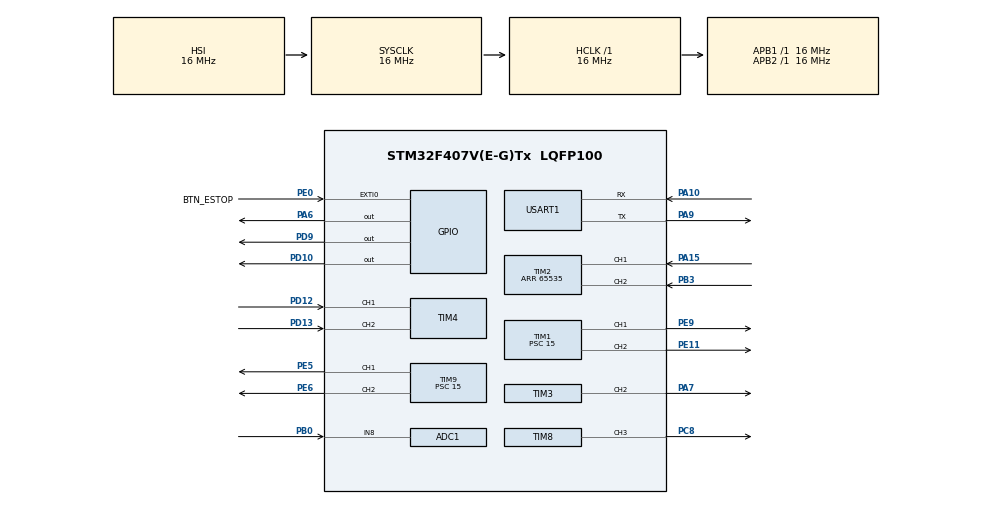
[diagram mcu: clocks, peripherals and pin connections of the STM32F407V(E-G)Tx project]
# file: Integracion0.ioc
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ADC1.Channel-0\#ChannelRegularConversion=ADC_CHANNEL_8
ADC1.NbrOfConversionFlag=1
ADC1.Rank-0\#ChannelRegularConversion=1
ADC1.SamplingTime-0\#ChannelRegularConversion=ADC_SAMPLETIME_3CYCLES
ADC1.master=1
Dma.Request0=TIM3_CH2
Dma.TIM3_CH2.0.Direction=DMA_PERIPH_TO_MEMORY
Dma.TIM3_CH2.0.FIFOMode=DMA_FIFOMODE_DISABLE
Dma.TIM3_CH2.0.Instance=DMA1_Stream5
Dma.TIM3_CH2.0.MemDataAlignment=DMA_MDATAALIGN_WORD
Dma.TIM3_CH2.0.MemInc=DMA_MINC_ENABLE
Dma.TIM3_CH2.0.Mode=DMA_NORMAL
Dma.TIM3_CH2.0.PeriphDataAlignment=DMA_PDATAALIGN_WORD
Dma.TIM3_CH2.0.PeriphInc=DMA_PINC_DISABLE
Dma.TIM3_CH2.0.Priority=DMA_PRIORITY_LOW
Mcu.Family=STM32F4
Mcu.Name=STM32F407V(E-G)Tx
Mcu.Package=LQFP100
NVIC.DMA1_Stream5_IRQn=true\:0\:0\:false\:false\:true\:false\:true\:true
NVIC.EXTI0_IRQn=true\:0\:0\:false\:false\:true\:true\:true\:true
NVIC.PriorityGroup=NVIC_PRIORITYGROUP_4
NVIC.USART1_IRQn=true\:0\:0\:false\:false\:true\:true\:true\:true
PA10.Mode=Asynchronous
PA10.Signal=USART1_RX
PA13.Mode=Serial_Wire
PA13.Signal=SYS_JTMS-SWDIO
PA14.Mode=Serial_Wire
PA14.Signal=SYS_JTCK-SWCLK
PA15.Signal=S_TIM2_CH1_ETR
PA6.Signal=GPIO_Output
PA7.Signal=S_TIM3_CH2
PA9.Mode=Asynchronous
PA9.Signal=USART1_TX
PB0.Signal=ADCx_IN8
PB3.Signal=S_TIM2_CH2
PC8.Signal=S_TIM8_CH3
PD10.Signal=GPIO_Output
PD12.Signal=S_TIM4_CH1
PD13.Signal=S_TIM4_CH2
PD9.Signal=GPIO_Output
PE0.GPIO_Label=BTN_ESTOP
PE0.GPIO_ModeDefaultEXTI=GPIO_MODE_IT_FALLING
PE0.Signal=GPXTI0
PE11.Signal=S_TIM1_CH2
PE5.Signal=S_TIM9_CH1
PE6.Signal=S_TIM9_CH2
PE9.Signal=S_TIM1_CH1
PH0-OSC_IN.Mode=HSE-External-Oscillator
PH0-OSC_IN.Signal=RCC_OSC_IN
PH1-OSC_OUT.Mode=HSE-External-Oscillator
PH1-OSC_OUT.Signal=RCC_OSC_OUT
ProjectManager.HeapSize=0x200
ProjectManager.StackSize=0x400
ProjectManager.TargetToolchain=STM32CubeIDE
RCC.AHBFreq_Value=16000000
RCC.APB1Freq_Value=16000000
RCC.APB2Freq_Value=16000000
RCC.CortexFreq_Value=16000000
RCC.HSE_VALUE=25000000
RCC.HSI_VALUE=16000000
RCC.LSE_VALUE=32768
RCC.SYSCLKFreq_VALUE=16000000
RCC.VCOOutputFreq_Value=192000000
SH.ADCx_IN8.0=ADC1_IN8,IN8
SH.S_TIM1_CH1.0=TIM1_CH1,PWM Generation1 CH1
SH.S_TIM1_CH2.0=TIM1_CH2,PWM Generation2 CH2
SH.S_TIM2_CH1_ETR.0=TIM2_CH1,Encoder_Interface
SH.S_TIM2_CH2.0=TIM2_CH2,Encoder_Interface
SH.S_TIM3_CH2.0=TIM3_CH2,PWM Generation2 CH2
SH.S_TIM4_CH1.0=TIM4_CH1,Encoder_Interface
SH.S_TIM4_CH2.0=TIM4_CH2,Encoder_Interface
SH.S_TIM8_CH3.0=TIM8_CH3,PWM Generation3 CH3
SH.S_TIM9_CH1.0=TIM9_CH1,PWM Generation1 CH1
SH.S_TIM9_CH2.0=TIM9_CH2,PWM Generation2 CH2
TIM1.Channel-PWM\ Generation1\ CH1=TIM_CHANNEL_1
TIM1.Channel-PWM\ Generation2\ CH2=TIM_CHANNEL_2
TIM1.Period=999
TIM1.Prescaler=15
TIM2.EncoderMode=TIM_ENCODERMODE_TI12
TIM2.Period=65535
TIM3.Channel-PWM\ Generation2\ CH2=TIM_CHANNEL_2
TIM3.Period=19
TIM4.EncoderMode=TIM_ENCODERMODE_TI12
TIM8.Channel-PWM\ Generation3\ CH3=TIM_CHANNEL_3
TIM8.Period=19999
TIM8.Prescaler=15
TIM9.Channel-PWM\ Generation1\ CH1=TIM_CHANNEL_1
TIM9.Channel-PWM\ Generation2\ CH2=TIM_CHANNEL_2
TIM9.Period=999
TIM9.Prescaler=15
USART1.VirtualMode=VM_ASYNC
VP_TIM3_VS_ClockSourceINT.Mode=Internal
VP_TIM8_VS_ClockSourceINT.Mode=Internal
VP_TIM9_VS_ClockSourceINT.Mode=Internal
board=custom

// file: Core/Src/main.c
/* USER CODE BEGIN Header */
/**
  ******************************************************************************
  * @file           : main.c
  * @brief          : Main program body
  ******************************************************************************
  * @attention
  *
  * Copyright (c) 2026 STMicroelectronics.
  * All rights reserved.
  *
  * This software is licensed under terms that can be found in the LICENSE file
  * in the root directory of this software component.
  * If no LICENSE file comes with this software, it is provided AS-IS.
  *
  ******************************************************************************
  */
/* USER CODE END Header */
#include "main.h"

ADC_HandleTypeDef hadc1;

TIM_HandleTypeDef htim1;
TIM_HandleTypeDef htim2;
TIM_HandleTypeDef htim3;
TIM_HandleTypeDef htim4;
TIM_HandleTypeDef htim8;
TIM_HandleTypeDef htim9;
DMA_HandleTypeDef hdma_tim3_ch2;

UART_HandleTypeDef huart1;

/* USER CODE BEGIN PV */
// --- BÚFER DE COMUNICACIÓN (MÁQUINA DE ESTADOS) ---
uint8_t rx_byte;          // Para recibir de 1 en 1
uint8_t rx_buffer[8];
uint8_t rx_index = 0;     // Índice para armar la trama

// --- TELEMETRÍA (ENCODERS) ---
uint8_t tx_buffer[7];
uint32_t timer_telemetria = 0;

// --- MÓDULO BATERÍA ---
uint32_t pwmData[74];
float voltaje_bateria = 0.0;
uint8_t flag_bateria_baja = 0;

// --- TEMPORIZADORES NO BLOQUEANTES ---
uint32_t timer_lectura_adc = 0;
uint32_t timer_ritmo_alarma = 0;
uint32_t timer_frecuencia_buzzer = 0;
uint8_t estado_alarma = 0;
volatile uint8_t e_stop_active = 0;
/* USER CODE END PV */

void SystemClock_Config(void);
static void MX_GPIO_Init(void);
static void MX_DMA_Init(void);
static void MX_ADC1_Init(void);
static void MX_TIM1_Init(void);
static void MX_TIM3_Init(void);
static void MX_TIM8_Init(void);
static void MX_TIM9_Init(void);
static void MX_USART1_UART_Init(void);
static void MX_TIM2_Init(void);
static void MX_TIM4_Init(void);

/* USER CODE BEGIN 0 */
void Set_LED_Color(uint8_t R, uint8_t G, uint8_t B) {
    uint32_t color = (G << 16) | (R << 8) | B;
    uint32_t indx = 0;
    for (int i = 23; i >= 0; i--) {
        if (color & (1 << i)) pwmData[indx] = 13;
        else pwmData[indx] = 6;
        indx++;
    }
    for (int i = 0; i < 50; i++) {
        pwmData[indx] = 0;
        indx++;
    }

    // ======== LA SOLUCIÓN ========
    // Detener el DMA anterior para liberar la tubería
    HAL_TIM_PWM_Stop_DMA(&htim3, TIM_CHANNEL_2);

    // Disparar el nuevo color
    HAL_TIM_PWM_Start_DMA(&htim3, TIM_CHANNEL_2, (uint32_t *)pwmData, 74);
}

void Monitor_Bateria_NoBloqueante(void) {
    if (HAL_GetTick() - timer_lectura_adc >= 1000) {
        timer_lectura_adc = HAL_GetTick();
        HAL_ADC_Start(&hadc1);
        if (HAL_ADC_PollForConversion(&hadc1, 10) == HAL_OK) {
            voltaje_bateria = HAL_ADC_GetValue(&hadc1) * 0.008864f;
            if (voltaje_bateria > 3.0 && voltaje_bateria < 6.6) {
                Set_LED_Color(255, 0, 0);
                flag_bateria_baja = 1;
            } else if (voltaje_bateria >= 6.6) {
                Set_LED_Color(0, 255, 0);
                flag_bateria_baja = 0;
            } else {
                Set_LED_Color(0, 0, 255);
                flag_bateria_baja = 0;
            }
        }
        HAL_ADC_Stop(&hadc1);
    }
}

void Control_Buzzer_NoBloqueante(void) {
    if (flag_bateria_baja == 1) {
        if (HAL_GetTick() - timer_ritmo_alarma >= 200) {
            timer_ritmo_alarma = HAL_GetTick();
            estado_alarma = !estado_alarma;
        }
        if (estado_alarma == 1) {
            if (HAL_GetTick() - timer_frecuencia_buzzer >= 1) {
                timer_frecuencia_buzzer = HAL_GetTick();
                HAL_GPIO_TogglePin(GPIOA, GPIO_PIN_6);
            }
        } else {
            HAL_GPIO_WritePin(GPIOA, GPIO_PIN_6, GPIO_PIN_RESET);
        }
    } else {
        estado_alarma = 0;
        HAL_GPIO_WritePin(GPIOA, GPIO_PIN_6, GPIO_PIN_RESET);
    }
}

void Transmitir_Encoders_NoBloqueante(void) {
    // Mandar datos cada 50 ms (20 Hz) para tener lectura fluida en ROS
    if (HAL_GetTick() - timer_telemetria >= 50) {
        timer_telemetria = HAL_GetTick();

        // 1. Leer los contadores por Hardware
        int16_t ticks_izq = (int16_t)__HAL_TIM_GET_COUNTER(&htim2);
        int16_t ticks_der = (int16_t)__HAL_TIM_GET_COUNTER(&htim4);

        // 2. Empaquetar en trama de 7 bytes: [AA, 55, IZQ_H, IZQ_L, DER_H, DER_L, FF]
        tx_buffer[0] = 0xAA;
        tx_buffer[1] = 0x55;
        tx_buffer[2] = (ticks_izq >> 8) & 0xFF;
        tx_buffer[3] = ticks_izq & 0xFF;
        tx_buffer[4] = (ticks_der >> 8) & 0xFF;
        tx_buffer[5] = ticks_der & 0xFF;
        tx_buffer[6] = 0xFF;

        // 3. Enviar por el puerto serial
        // (A 115200 baudios, 7 bytes tardan 0.6 ms en enviarse, así que no bloqueará nada)
        HAL_UART_Transmit(&huart1, tx_buffer, 7, 10);
    }
}
/* USER CODE END 0 */

int main(void)
{

  /* MCU Configuration--------------------------------------------------------*/

  /* Reset of all peripherals, Initializes the Flash interface and the Systick. */
  HAL_Init();

  /* Configure the system clock */
  SystemClock_Config();

  /* Initialize all configured peripherals */
  MX_GPIO_Init();
  MX_DMA_Init();
  MX_ADC1_Init();
  MX_TIM1_Init();
  MX_TIM3_Init();
  MX_TIM8_Init();
  MX_TIM9_Init();
  MX_USART1_UART_Init();
  MX_TIM2_Init();
  MX_TIM4_Init();
  /* USER CODE BEGIN 2 */
      HAL_TIM_PWM_Start(&htim1, TIM_CHANNEL_1);
      HAL_TIM_PWM_Start(&htim1, TIM_CHANNEL_2);
      HAL_TIM_PWM_Start(&htim9, TIM_CHANNEL_1);
      HAL_TIM_PWM_Start(&htim9, TIM_CHANNEL_2);

      HAL_TIM_Encoder_Start(&htim2, TIM_CHANNEL_ALL);
      HAL_TIM_Encoder_Start(&htim4, TIM_CHANNEL_ALL);

      HAL_TIM_PWM_Start(&htim8, TIM_CHANNEL_3);
      __HAL_TIM_SET_COMPARE(&htim8, TIM_CHANNEL_3, 1500);

      // ¡EL CAMBIO CRÍTICO! Empezar a escuchar UART (1 solo byte a la vez)
      HAL_UART_Receive_IT(&huart1, &rx_byte, 1);
  /* USER CODE END 2 */

  /* Infinite loop */
  /* USER CODE BEGIN WHILE */
    	while (1)
          {
              Monitor_Bateria_NoBloqueante();
              Control_Buzzer_NoBloqueante();
              Transmitir_Encoders_NoBloqueante();
    /* USER CODE END WHILE */

  }
}

void SystemClock_Config(void)
{
  RCC_OscInitTypeDef RCC_OscInitStruct = {0};
  RCC_ClkInitTypeDef RCC_ClkInitStruct = {0};

  /** Configure the main internal regulator output voltage
  */
  __HAL_RCC_PWR_CLK_ENABLE();
  __HAL_PWR_VOLTAGESCALING_CONFIG(PWR_REGULATOR_VOLTAGE_SCALE1);

  /** Initializes the RCC Oscillators according to the specified parameters
  * in the RCC_OscInitTypeDef structure.
  */
  RCC_OscInitStruct.OscillatorType = RCC_OSCILLATORTYPE_HSI;
  RCC_OscInitStruct.HSIState = RCC_HSI_ON;
  RCC_OscInitStruct.HSICalibrationValue = RCC_HSICALIBRATION_DEFAULT;
  RCC_OscInitStruct.PLL.PLLState = RCC_PLL_NONE;
  if (HAL_RCC_OscConfig(&RCC_OscInitStruct) != HAL_OK)
  {
    Error_Handler();
  }

  /** Initializes the CPU, AHB and APB buses clocks
  */
  RCC_ClkInitStruct.ClockType = RCC_CLOCKTYPE_HCLK|RCC_CLOCKTYPE_SYSCLK
                              |RCC_CLOCKTYPE_PCLK1|RCC_CLOCKTYPE_PCLK2;
  RCC_ClkInitStruct.SYSCLKSource = RCC_SYSCLKSOURCE_HSI;
  RCC_ClkInitStruct.AHBCLKDivider = RCC_SYSCLK_DIV1;
  RCC_ClkInitStruct.APB1CLKDivider = RCC_HCLK_DIV1;
  RCC_ClkInitStruct.APB2CLKDivider = RCC_HCLK_DIV1;

  if (HAL_RCC_ClockConfig(&RCC_ClkInitStruct, FLASH_LATENCY_0) != HAL_OK)
  {
    Error_Handler();
  }
}

static void MX_ADC1_Init(void)
{

  ADC_ChannelConfTypeDef sConfig = {0};

  /** Configure the global features of the ADC (Clock, Resolution, Data Alignment and number of conversion)
  */
  hadc1.Instance = ADC1;
  hadc1.Init.ClockPrescaler = ADC_CLOCK_SYNC_PCLK_DIV2;
  hadc1.Init.Resolution = ADC_RESOLUTION_12B;
  hadc1.Init.ScanConvMode = DISABLE;
  hadc1.Init.ContinuousConvMode = DISABLE;
  hadc1.Init.DiscontinuousConvMode = DISABLE;
  hadc1.Init.ExternalTrigConvEdge = ADC_EXTERNALTRIGCONVEDGE_NONE;
  hadc1.Init.ExternalTrigConv = ADC_SOFTWARE_START;
  hadc1.Init.DataAlign = ADC_DATAALIGN_RIGHT;
  hadc1.Init.NbrOfConversion = 1;
  hadc1.Init.DMAContinuousRequests = DISABLE;
  hadc1.Init.EOCSelection = ADC_EOC_SINGLE_CONV;
  if (HAL_ADC_Init(&hadc1) != HAL_OK)
  {
    Error_Handler();
  }

  /** Configure for the selected ADC regular channel its corresponding rank in the sequencer and its sample time.
  */
  sConfig.Channel = ADC_CHANNEL_8;
  sConfig.Rank = 1;
  sConfig.SamplingTime = ADC_SAMPLETIME_3CYCLES;
  if (HAL_ADC_ConfigChannel(&hadc1, &sConfig) != HAL_OK)
  {
    Error_Handler();
  }

}

static void MX_TIM1_Init(void)
{

  TIM_MasterConfigTypeDef sMasterConfig = {0};
  TIM_OC_InitTypeDef sConfigOC = {0};
  TIM_BreakDeadTimeConfigTypeDef sBreakDeadTimeConfig = {0};

  htim1.Instance = TIM1;
  htim1.Init.Prescaler = 15;
  htim1.Init.CounterMode = TIM_COUNTERMODE_UP;
  htim1.Init.Period = 999;
  htim1.Init.ClockDivision = TIM_CLOCKDIVISION_DIV1;
  htim1.Init.RepetitionCounter = 0;
  htim1.Init.AutoReloadPreload = TIM_AUTORELOAD_PRELOAD_DISABLE;
  if (HAL_TIM_PWM_Init(&htim1) != HAL_OK)
  {
    Error_Handler();
  }
  sMasterConfig.MasterOutputTrigger = TIM_TRGO_RESET;
  sMasterConfig.MasterSlaveMode = TIM_MASTERSLAVEMODE_DISABLE;
  if (HAL_TIMEx_MasterConfigSynchronization(&htim1, &sMasterConfig) != HAL_OK)
  {
    Error_Handler();
  }
  sConfigOC.OCMode = TIM_OCMODE_PWM1;
  sConfigOC.Pulse = 0;
  sConfigOC.OCPolarity = TIM_OCPOLARITY_HIGH;
  sConfigOC.OCNPolarity = TIM_OCNPOLARITY_HIGH;
  sConfigOC.OCFastMode = TIM_OCFAST_DISABLE;
  sConfigOC.OCIdleState = TIM_OCIDLESTATE_RESET;
  sConfigOC.OCNIdleState = TIM_OCNIDLESTATE_RESET;
  if (HAL_TIM_PWM_ConfigChannel(&htim1, &sConfigOC, TIM_CHANNEL_1) != HAL_OK)
  {
    Error_Handler();
  }
  if (HAL_TIM_PWM_ConfigChannel(&htim1, &sConfigOC, TIM_CHANNEL_2) != HAL_OK)
  {
    Error_Handler();
  }
  sBreakDeadTimeConfig.OffStateRunMode = TIM_OSSR_DISABLE;
  sBreakDeadTimeConfig.OffStateIDLEMode = TIM_OSSI_DISABLE;
  sBreakDeadTimeConfig.LockLevel = TIM_LOCKLEVEL_OFF;
  sBreakDeadTimeConfig.DeadTime = 0;
  sBreakDeadTimeConfig.BreakState = TIM_BREAK_DISABLE;
  sBreakDeadTimeConfig.BreakPolarity = TIM_BREAKPOLARITY_HIGH;
  sBreakDeadTimeConfig.AutomaticOutput = TIM_AUTOMATICOUTPUT_DISABLE;
  if (HAL_TIMEx_ConfigBreakDeadTime(&htim1, &sBreakDeadTimeConfig) != HAL_OK)
  {
    Error_Handler();
  }
  HAL_TIM_MspPostInit(&htim1);

}

static void MX_TIM2_Init(void)
{

  TIM_Encoder_InitTypeDef sConfig = {0};
  TIM_MasterConfigTypeDef sMasterConfig = {0};

  htim2.Instance = TIM2;
  htim2.Init.Prescaler = 0;
  htim2.Init.CounterMode = TIM_COUNTERMODE_UP;
  htim2.Init.Period = 65535;
  htim2.Init.ClockDivision = TIM_CLOCKDIVISION_DIV1;
  htim2.Init.AutoReloadPreload = TIM_AUTORELOAD_PRELOAD_DISABLE;
  sConfig.EncoderMode = TIM_ENCODERMODE_TI12;
  sConfig.IC1Polarity = TIM_ICPOLARITY_RISING;
  sConfig.IC1Selection = TIM_ICSELECTION_DIRECTTI;
  sConfig.IC1Prescaler = TIM_ICPSC_DIV1;
  sConfig.IC1Filter = 0;
  sConfig.IC2Polarity = TIM_ICPOLARITY_RISING;
  sConfig.IC2Selection = TIM_ICSELECTION_DIRECTTI;
  sConfig.IC2Prescaler = TIM_ICPSC_DIV1;
  sConfig.IC2Filter = 0;
  if (HAL_TIM_Encoder_Init(&htim2, &sConfig) != HAL_OK)
  {
    Error_Handler();
  }
  sMasterConfig.MasterOutputTrigger = TIM_TRGO_RESET;
  sMasterConfig.MasterSlaveMode = TIM_MASTERSLAVEMODE_DISABLE;
  if (HAL_TIMEx_MasterConfigSynchronization(&htim2, &sMasterConfig) != HAL_OK)
  {
    Error_Handler();
  }

}

static void MX_TIM3_Init(void)
{

  TIM_ClockConfigTypeDef sClockSourceConfig = {0};
  TIM_MasterConfigTypeDef sMasterConfig = {0};
  TIM_OC_InitTypeDef sConfigOC = {0};

  htim3.Instance = TIM3;
  htim3.Init.Prescaler = 0;
  htim3.Init.CounterMode = TIM_COUNTERMODE_UP;
  htim3.Init.Period = 19;
  htim3.Init.ClockDivision = TIM_CLOCKDIVISION_DIV1;
  htim3.Init.AutoReloadPreload = TIM_AUTORELOAD_PRELOAD_DISABLE;
  if (HAL_TIM_Base_Init(&htim3) != HAL_OK)
  {
    Error_Handler();
  }
  sClockSourceConfig.ClockSource = TIM_CLOCKSOURCE_INTERNAL;
  if (HAL_TIM_ConfigClockSource(&htim3, &sClockSourceConfig) != HAL_OK)
  {
    Error_Handler();
  }
  if (HAL_TIM_PWM_Init(&htim3) != HAL_OK)
  {
    Error_Handler();
  }
  sMasterConfig.MasterOutputTrigger = TIM_TRGO_RESET;
  sMasterConfig.MasterSlaveMode = TIM_MASTERSLAVEMODE_DISABLE;
  if (HAL_TIMEx_MasterConfigSynchronization(&htim3, &sMasterConfig) != HAL_OK)
  {
    Error_Handler();
  }
  sConfigOC.OCMode = TIM_OCMODE_PWM1;
  sConfigOC.Pulse = 0;
  sConfigOC.OCPolarity = TIM_OCPOLARITY_HIGH;
  sConfigOC.OCFastMode = TIM_OCFAST_DISABLE;
  if (HAL_TIM_PWM_ConfigChannel(&htim3, &sConfigOC, TIM_CHANNEL_2) != HAL_OK)
  {
    Error_Handler();
  }
  HAL_TIM_MspPostInit(&htim3);

}

static void MX_TIM4_Init(void)
{

  TIM_Encoder_InitTypeDef sConfig = {0};
  TIM_MasterConfigTypeDef sMasterConfig = {0};

  htim4.Instance = TIM4;
  htim4.Init.Prescaler = 0;
  htim4.Init.CounterMode = TIM_COUNTERMODE_UP;
  htim4.Init.Period = 65535;
  htim4.Init.ClockDivision = TIM_CLOCKDIVISION_DIV1;
  htim4.Init.AutoReloadPreload = TIM_AUTORELOAD_PRELOAD_DISABLE;
  sConfig.EncoderMode = TIM_ENCODERMODE_TI12;
  sConfig.IC1Polarity = TIM_ICPOLARITY_RISING;
  sConfig.IC1Selection = TIM_ICSELECTION_DIRECTTI;
  sConfig.IC1Prescaler = TIM_ICPSC_DIV1;
  sConfig.IC1Filter = 0;
  sConfig.IC2Polarity = TIM_ICPOLARITY_RISING;
  sConfig.IC2Selection = TIM_ICSELECTION_DIRECTTI;
  sConfig.IC2Prescaler = TIM_ICPSC_DIV1;
  sConfig.IC2Filter = 0;
  if (HAL_TIM_Encoder_Init(&htim4, &sConfig) != HAL_OK)
  {
    Error_Handler();
  }
  sMasterConfig.MasterOutputTrigger = TIM_TRGO_RESET;
  sMasterConfig.MasterSlaveMode = TIM_MASTERSLAVEMODE_DISABLE;
  if (HAL_TIMEx_MasterConfigSynchronization(&htim4, &sMasterConfig) != HAL_OK)
  {
    Error_Handler();
  }

}

static void MX_TIM8_Init(void)
{

  TIM_ClockConfigTypeDef sClockSourceConfig = {0};
  TIM_MasterConfigTypeDef sMasterConfig = {0};
  TIM_OC_InitTypeDef sConfigOC = {0};
  TIM_BreakDeadTimeConfigTypeDef sBreakDeadTimeConfig = {0};

  htim8.Instance = TIM8;
  htim8.Init.Prescaler = 15;
  htim8.Init.CounterMode = TIM_COUNTERMODE_UP;
  htim8.Init.Period = 19999;
  htim8.Init.ClockDivision = TIM_CLOCKDIVISION_DIV1;
  htim8.Init.RepetitionCounter = 0;
  htim8.Init.AutoReloadPreload = TIM_AUTORELOAD_PRELOAD_DISABLE;
  if (HAL_TIM_Base_Init(&htim8) != HAL_OK)
  {
    Error_Handler();
  }
  sClockSourceConfig.ClockSource = TIM_CLOCKSOURCE_INTERNAL;
  if (HAL_TIM_ConfigClockSource(&htim8, &sClockSourceConfig) != HAL_OK)
  {
    Error_Handler();
  }
  if (HAL_TIM_PWM_Init(&htim8) != HAL_OK)
  {
    Error_Handler();
  }
  sMasterConfig.MasterOutputTrigger = TIM_TRGO_RESET;
  sMasterConfig.MasterSlaveMode = TIM_MASTERSLAVEMODE_DISABLE;
  if (HAL_TIMEx_MasterConfigSynchronization(&htim8, &sMasterConfig) != HAL_OK)
  {
    Error_Handler();
  }
  sConfigOC.OCMode = TIM_OCMODE_PWM1;
  sConfigOC.Pulse = 0;
  sConfigOC.OCPolarity = TIM_OCPOLARITY_HIGH;
  sConfigOC.OCNPolarity = TIM_OCNPOLARITY_HIGH;
  sConfigOC.OCFastMode = TIM_OCFAST_DISABLE;
  sConfigOC.OCIdleState = TIM_OCIDLESTATE_RESET;
  sConfigOC.OCNIdleState = TIM_OCNIDLESTATE_RESET;
  if (HAL_TIM_PWM_ConfigChannel(&htim8, &sConfigOC, TIM_CHANNEL_3) != HAL_OK)
  {
    Error_Handler();
  }
  sBreakDeadTimeConfig.OffStateRunMode = TIM_OSSR_DISABLE;
  sBreakDeadTimeConfig.OffStateIDLEMode = TIM_OSSI_DISABLE;
  sBreakDeadTimeConfig.LockLevel = TIM_LOCKLEVEL_OFF;
  sBreakDeadTimeConfig.DeadTime = 0;
  sBreakDeadTimeConfig.BreakState = TIM_BREAK_DISABLE;
  sBreakDeadTimeConfig.BreakPolarity = TIM_BREAKPOLARITY_HIGH;
  sBreakDeadTimeConfig.AutomaticOutput = TIM_AUTOMATICOUTPUT_DISABLE;
  if (HAL_TIMEx_ConfigBreakDeadTime(&htim8, &sBreakDeadTimeConfig) != HAL_OK)
  {
    Error_Handler();
  }
  HAL_TIM_MspPostInit(&htim8);

}

static void MX_TIM9_Init(void)
{

  TIM_ClockConfigTypeDef sClockSourceConfig = {0};
  TIM_OC_InitTypeDef sConfigOC = {0};

  htim9.Instance = TIM9;
  htim9.Init.Prescaler = 15;
  htim9.Init.CounterMode = TIM_COUNTERMODE_UP;
  htim9.Init.Period = 999;
  htim9.Init.ClockDivision = TIM_CLOCKDIVISION_DIV1;
  htim9.Init.AutoReloadPreload = TIM_AUTORELOAD_PRELOAD_DISABLE;
  if (HAL_TIM_Base_Init(&htim9) != HAL_OK)
  {
    Error_Handler();
  }
  sClockSourceConfig.ClockSource = TIM_CLOCKSOURCE_INTERNAL;
  if (HAL_TIM_ConfigClockSource(&htim9, &sClockSourceConfig) != HAL_OK)
  {
    Error_Handler();
  }
  if (HAL_TIM_PWM_Init(&htim9) != HAL_OK)
  {
    Error_Handler();
  }
  sConfigOC.OCMode = TIM_OCMODE_PWM1;
  sConfigOC.Pulse = 0;
  sConfigOC.OCPolarity = TIM_OCPOLARITY_HIGH;
  sConfigOC.OCFastMode = TIM_OCFAST_DISABLE;
  if (HAL_TIM_PWM_ConfigChannel(&htim9, &sConfigOC, TIM_CHANNEL_1) != HAL_OK)
  {
    Error_Handler();
  }
  if (HAL_TIM_PWM_ConfigChannel(&htim9, &sConfigOC, TIM_CHANNEL_2) != HAL_OK)
  {
    Error_Handler();
  }
  HAL_TIM_MspPostInit(&htim9);

}

static void MX_USART1_UART_Init(void)
{

  huart1.Instance = USART1;
  huart1.Init.BaudRate = 115200;
  huart1.Init.WordLength = UART_WORDLENGTH_8B;
  huart1.Init.StopBits = UART_STOPBITS_1;
  huart1.Init.Parity = UART_PARITY_NONE;
  huart1.Init.Mode = UART_MODE_TX_RX;
  huart1.Init.HwFlowCtl = UART_HWCONTROL_NONE;
  huart1.Init.OverSampling = UART_OVERSAMPLING_16;
  if (HAL_UART_Init(&huart1) != HAL_OK)
  {
    Error_Handler();
  }

}

static void MX_DMA_Init(void)
{

  /* DMA controller clock enable */
  __HAL_RCC_DMA1_CLK_ENABLE();

  /* DMA interrupt init */
  /* DMA1_Stream5_IRQn interrupt configuration */
  HAL_NVIC_SetPriority(DMA1_Stream5_IRQn, 0, 0);
  HAL_NVIC_EnableIRQ(DMA1_Stream5_IRQn);

}

static void MX_GPIO_Init(void)
{
  GPIO_InitTypeDef GPIO_InitStruct = {0};

  /* GPIO Ports Clock Enable */
  __HAL_RCC_GPIOE_CLK_ENABLE();
  __HAL_RCC_GPIOH_CLK_ENABLE();
  __HAL_RCC_GPIOA_CLK_ENABLE();
  __HAL_RCC_GPIOB_CLK_ENABLE();
  __HAL_RCC_GPIOD_CLK_ENABLE();
  __HAL_RCC_GPIOC_CLK_ENABLE();

  /*Configure GPIO pin Output Level */
  HAL_GPIO_WritePin(GPIOA, GPIO_PIN_6, GPIO_PIN_RESET);

  /*Configure GPIO pin Output Level */
  HAL_GPIO_WritePin(GPIOD, GPIO_PIN_9|GPIO_PIN_10, GPIO_PIN_RESET);

  /*Configure GPIO pin : PA6 */
  GPIO_InitStruct.Pin = GPIO_PIN_6;
  GPIO_InitStruct.Mode = GPIO_MODE_OUTPUT_PP;
  GPIO_InitStruct.Pull = GPIO_NOPULL;
  GPIO_InitStruct.Speed = GPIO_SPEED_FREQ_LOW;
  HAL_GPIO_Init(GPIOA, &GPIO_InitStruct);

  /*Configure GPIO pins : PD9 PD10 */
  GPIO_InitStruct.Pin = GPIO_PIN_9|GPIO_PIN_10;
  GPIO_InitStruct.Mode = GPIO_MODE_OUTPUT_PP;
  GPIO_InitStruct.Pull = GPIO_NOPULL;
  GPIO_InitStruct.Speed = GPIO_SPEED_FREQ_LOW;
  HAL_GPIO_Init(GPIOD, &GPIO_InitStruct);

  /*Configure GPIO pin : BTN_ESTOP_Pin */
  GPIO_InitStruct.Pin = BTN_ESTOP_Pin;
  GPIO_InitStruct.Mode = GPIO_MODE_IT_FALLING;
  GPIO_InitStruct.Pull = GPIO_NOPULL;
  HAL_GPIO_Init(BTN_ESTOP_GPIO_Port, &GPIO_InitStruct);

  /* EXTI interrupt init*/
  HAL_NVIC_SetPriority(EXTI0_IRQn, 0, 0);
  HAL_NVIC_EnableIRQ(EXTI0_IRQn);

}

/* USER CODE BEGIN 4 */
void HAL_GPIO_EXTI_Callback(uint16_t GPIO_Pin) {
    static uint32_t ultimo_tiempo_boton = 0;
    uint32_t tiempo_actual = HAL_GetTick();

    if (tiempo_actual - ultimo_tiempo_boton > 200) {
        if (GPIO_Pin == BTN_ESTOP_Pin) {
            e_stop_active = !e_stop_active;
        }
    }
    ultimo_tiempo_boton = tiempo_actual;
}

void HAL_UART_RxCpltCallback(UART_HandleTypeDef *huart) {
    if (huart->Instance == USART1) {

        // ======================================================
        // MÁQUINA DE ESTADOS PARA SINCRONIZACIÓN PERFECTA
        // ======================================================
        if (rx_index == 0) {
            if (rx_byte == 0xAA) rx_buffer[rx_index++] = rx_byte;
        }
        else if (rx_index == 1) {
            if (rx_byte == 0x55) rx_buffer[rx_index++] = rx_byte;
            else rx_index = 0; // Basura, reiniciar
        }
        else {
            rx_buffer[rx_index++] = rx_byte;

            // Si ya recolectamos los 8 bytes exactos
            if (rx_index >= 8) {
                rx_index = 0; // Reiniciar para el próximo paquete

                if (rx_buffer[7] == 0xFF) { // Confirmar la "cola"

                    uint8_t dir_dc   = rx_buffer[3];
                    uint8_t speed_dc = rx_buffer[4];
                    uint16_t servo_pwm = (rx_buffer[5] << 8) | rx_buffer[6];

                    // --- LÓGICA DE PARO DE EMERGENCIA ---
                    if (e_stop_active == 1) {
                        __HAL_TIM_SET_COMPARE(&htim8, TIM_CHANNEL_3, 1500);
                        HAL_GPIO_WritePin(GPIOD, GPIO_PIN_9, GPIO_PIN_RESET);
                        HAL_GPIO_WritePin(GPIOD, GPIO_PIN_10, GPIO_PIN_RESET);
                        __HAL_TIM_SET_COMPARE(&htim1, TIM_CHANNEL_1, 1000);
                        __HAL_TIM_SET_COMPARE(&htim1, TIM_CHANNEL_2, 1000);
                        __HAL_TIM_SET_COMPARE(&htim9, TIM_CHANNEL_1, 1000);
                        __HAL_TIM_SET_COMPARE(&htim9, TIM_CHANNEL_2, 1000);
                    }
                    else {
                        // --- SEGURIDAD DEL SERVO ---
                        if (servo_pwm > 1740) servo_pwm = 1740;
                        if (servo_pwm < 1110) servo_pwm = 1110;
                        if (servo_pwm == 0)   servo_pwm = 1500;

                        __HAL_TIM_SET_COMPARE(&htim8, TIM_CHANNEL_3, servo_pwm);

                        // --- CONTROL MOTORES DC ---
                        uint32_t pwm_val = speed_dc * 10;

                        if (dir_dc == 1) { // ADELANTE
                            HAL_GPIO_WritePin(GPIOD, GPIO_PIN_9, GPIO_PIN_SET);
                            HAL_GPIO_WritePin(GPIOD, GPIO_PIN_10, GPIO_PIN_RESET);
                            __HAL_TIM_SET_COMPARE(&htim1, TIM_CHANNEL_1, 0);
                            __HAL_TIM_SET_COMPARE(&htim1, TIM_CHANNEL_2, pwm_val);
                            __HAL_TIM_SET_COMPARE(&htim9, TIM_CHANNEL_1, 0);
                            __HAL_TIM_SET_COMPARE(&htim9, TIM_CHANNEL_2, pwm_val);
                        }
                        else if (dir_dc == 2) { // REVERSA
                            HAL_GPIO_WritePin(GPIOD, GPIO_PIN_9, GPIO_PIN_RESET);
                            HAL_GPIO_WritePin(GPIOD, GPIO_PIN_10, GPIO_PIN_SET);
                            __HAL_TIM_SET_COMPARE(&htim1, TIM_CHANNEL_1, pwm_val);
                            __HAL_TIM_SET_COMPARE(&htim1, TIM_CHANNEL_2, 0);
                            __HAL_TIM_SET_COMPARE(&htim9, TIM_CHANNEL_1, pwm_val);
                            __HAL_TIM_SET_COMPARE(&htim9, TIM_CHANNEL_2, 0);
                        }
                        else { // FRENO
                            HAL_GPIO_WritePin(GPIOD, GPIO_PIN_9, GPIO_PIN_RESET);
                            HAL_GPIO_WritePin(GPIOD, GPIO_PIN_10, GPIO_PIN_RESET);
                            __HAL_TIM_SET_COMPARE(&htim1, TIM_CHANNEL_1, 1000);
                            __HAL_TIM_SET_COMPARE(&htim1, TIM_CHANNEL_2, 1000);
                            __HAL_TIM_SET_COMPARE(&htim9, TIM_CHANNEL_1, 1000);
                            __HAL_TIM_SET_COMPARE(&htim9, TIM_CHANNEL_2, 1000);
                        }
                    }
                }
            }
        }
        // Pedirle al STM32 que escuche el SIGUIENTE byte
        HAL_UART_Receive_IT(&huart1, &rx_byte, 1);
    }
}
/* USER CODE END 4 */

void Error_Handler(void)
{
  __disable_irq();
  while (1)
  {
  }
}
